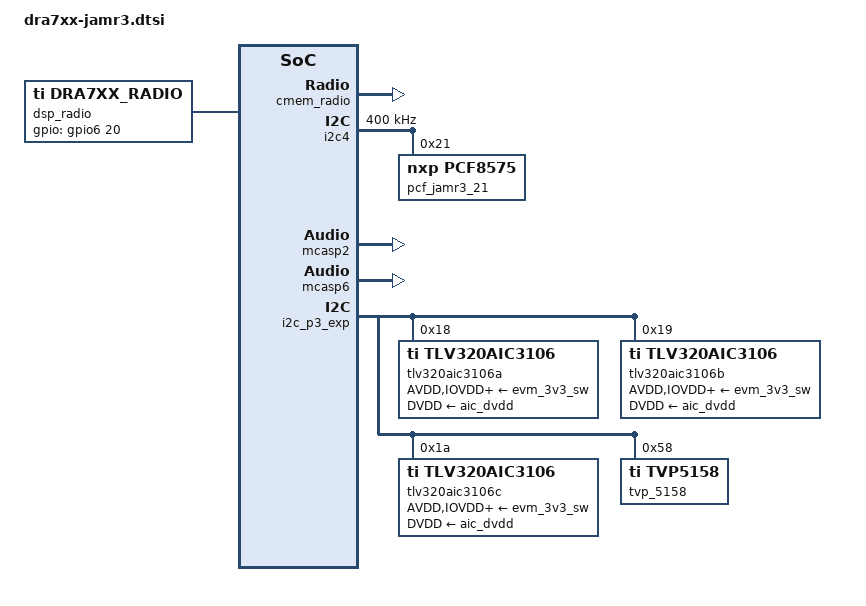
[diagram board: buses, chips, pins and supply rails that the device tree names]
/*
 * Copyright (C) 2015 Texas Instruments Incorporated - http://www.ti.com/
 *
 * This program is free software; you can redistribute it and/or modify
 * it under the terms of the GNU General Public License version 2 as
 * published by the Free Software Foundation.
 */

#include <dt-bindings/clk/ti-dra7-atl.h>

/ {
	jamr3_sound {
		compatible = "ti,dra7xx-jamr3-snd";
		ti,model = "DRA7xx-JAMR3";
		ti,always-on;
		clocks = <&atl_clkin1_ck>;
		clock-names = "ti,codec-clock";

		ti,audio-routing =
			"J3A LINE1L",		"JAMR3 Stereo Aux In",
			"J3A LINE1R",		"JAMR3 Stereo Aux In",
			"J3B LINE1L",		"JAMR3 Mono Mic 1",
			"J3B LINE1R",		"JAMR3 Mono Mic 2",
			"JAMR3 Line Out 1",	"J3A LLOUT",
			"JAMR3 Line Out 1",	"J3A RLOUT",
			"JAMR3 Line Out 2",	"J3B LLOUT",
			"JAMR3 Line Out 2",	"J3B RLOUT",
			"JAMR3 Line Out 3",	"J3C LLOUT",
			"JAMR3 Line Out 3",	"J3C RLOUT";

		/* DAI link */
		ti,mcasp-controller = <&mcasp6>;
		ti,audio-codec-a = <&tlv320aic3106a>;
		ti,audio-codec-b = <&tlv320aic3106b>;
		ti,audio-codec-c = <&tlv320aic3106c>;
		ti,audio-slots = <8>;
		ti,audio-mclk-freq = <11289600>;
	};

	dsp_radio: radio {
		compatible = "ti,dra7xx_radio";
		gpios = <&gpio6 20 0>;
	};
};

&reserved_mem {
	/* Required by cmem driver used by radio */
	cmem_radio: cmem@95400000 {
		reg = <0x95400000 0x400000>;
		no-map;
		status = "okay";
	};

	dsp1_sr0: dsp1_sr0@bfd00000 {
		reg = <0xbfd00000 0x100000>;
		no-map;
		status = "okay";
	};
};

&atl {
	atl1 {
		bws = <DRA7_ATL_WS_MCASP2_FSX>;
		aws = <DRA7_ATL_WS_MCASP6_FSX>;
	};
};

&i2c4 {
	status = "okay";
	clock-frequency = <400000>;

	pcf_jamr3_21: pcf8575@21 {
		compatible = "nxp,pcf8575";
		reg = <0x21>;
		gpio-controller;
		#gpio-cells = <2>;
	};
};

&mcasp2 {
	fck_parent = "atl_clkin2_ck";

	status = "okay";

	op-mode = <0>;	/* MCASP_IIS_MODE */
	tdm-slots = <2>;
	/* 8 serializer */
	serial-dir = <	/* 0: INACTIVE, 1: TX, 2: RX */
		1 1 1 1 1 1 1 1
	>;
	shared-dai;
};

&mcasp6 {
	fck_parent = "atl_clkin1_ck";

	status = "okay";

	op-mode = <0>;	/* MCASP_IIS_MODE */
	tdm-slots = <8>;
	/* 4 serializer */
	serial-dir = <	/* 0: INACTIVE, 1: TX, 2: RX */
		1 2 0 0
	>;
	tx-num-evt = <8>;
	rx-num-evt = <8>;
	shared-dai;
};

&i2c_p3_exp {
	tlv320aic3106a: tlv320aic3106@18 {
		compatible = "ti,tlv320aic3106";
		reg = <0x18>;
		adc-settle-ms = <40>;
		ai3x-micbias-vg = <1>;	/* 2.0V */
		status = "okay";
		name-prefix = "J3A";

		/* Regulators */
		AVDD-supply = <&evm_3v3_sw>;
		IOVDD-supply = <&evm_3v3_sw>;
		DRVDD-supply = <&evm_3v3_sw>;
		DVDD-supply = <&aic_dvdd>;
	};

	tlv320aic3106b: tlv320aic3106@19 {
		compatible = "ti,tlv320aic3106";
		reg = <0x19>;
		adc-settle-ms = <40>;
		ai3x-micbias-vg = <1>;	/* 2.0V */
		status = "okay";
		name-prefix = "J3B";

		/* Regulators */
		AVDD-supply = <&evm_3v3_sw>;
		IOVDD-supply = <&evm_3v3_sw>;
		DRVDD-supply = <&evm_3v3_sw>;
		DVDD-supply = <&aic_dvdd>;
	};

	tlv320aic3106c: tlv320aic3106@1a {
		compatible = "ti,tlv320aic3106";
		reg = <0x1a>;
		adc-settle-ms = <40>;
		ai3x-micbias-vg = <1>;	/* 2.0V */
		status = "okay";
		name-prefix = "J3C";

		/* Regulators */
		AVDD-supply = <&evm_3v3_sw>;
		IOVDD-supply = <&evm_3v3_sw>;
		DRVDD-supply = <&evm_3v3_sw>;
		DVDD-supply = <&aic_dvdd>;
	};

	tvp_5158: tvp5158@58 {
		compatible= "ti,tvp5158";
		reg = <0x58>;

		port {
			tvp_decoder: endpoint@0 {
				channels = <0 2 4 6>;
			};
		};
	};
};

&video_in {
	endpoint {
		slave-mode;
		remote-endpoint = <&tvp_decoder>;
	};
};
